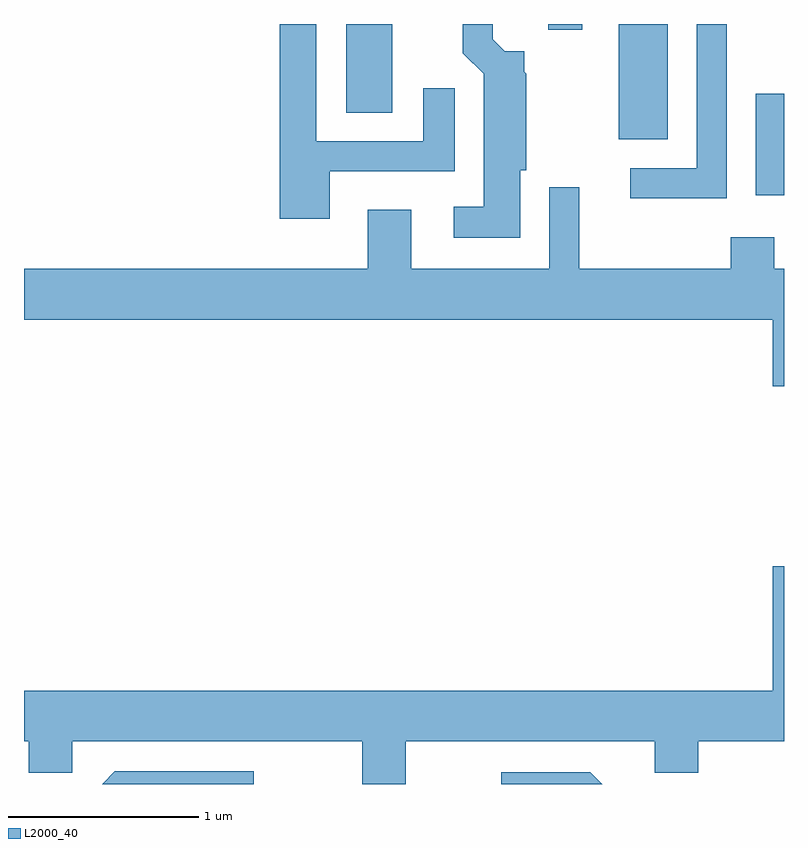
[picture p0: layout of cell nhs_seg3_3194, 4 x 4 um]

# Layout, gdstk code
import gdstk
lib = gdstk.Library(unit=1e-6, precision=1e-09)
def R(c, l, rs):  # rectangles x0, y0, x1, y1
    for r in rs: c.add(gdstk.rectangle(r[:2], r[2:], *l))
def P(c, l, *ps):  # polygons
    for p in ps: c.add(gdstk.Polygon(p, *l))
L2000_40 = (2000, 40)

nhs_seg3_3194 = lib.new_cell('nhs_seg3_3194')
R(nhs_seg3_3194, L2000_40, [(281.461,1250.991,281.611,1251.524), (280.741,1251.286,280.999,1251.892), (279.306,1251.426,279.549,1251.892), (280.371,1251.861,280.549,1251.892)])
P(nhs_seg3_3194, L2000_40, [(281.309,1251.892),(281.151,1251.892),(281.151,1251.134),(280.803,1251.134),(280.803,1250.976),(281.309,1250.976)],
  [(279.219,1251.116),(279.879,1251.116),(279.879,1251.553),(279.711,1251.553),(279.711,1251.274),(279.149,1251.274),(279.149,1251.892),(278.956,1251.892),(278.956,1250.866),(279.219,1250.866)],
  [(280.224,1251.121),(280.254,1251.121),(280.254,1251.631),(280.244,1251.641),(280.244,1251.749),(280.142,1251.749),(280.079,1251.812),(280.079,1251.892),(279.921,1251.892),(279.921,1251.739),(280.031,1251.629),(280.031,1250.929),(279.873,1250.929),(279.873,1250.766),(280.224,1250.766)],
  [(281.611,1250.604),(281.559,1250.604),(281.559,1250.769),(281.331,1250.769),(281.331,1250.604),(280.534,1250.604),(280.534,1251.033),(280.376,1251.033),(280.376,1250.604),(279.649,1250.604),(279.649,1250.914),(279.421,1250.914),(279.421,1250.604),(277.611,1250.604),(277.611,1250.336),(281.551,1250.336),(281.551,1249.986),(281.611,1249.986)],
  [(279.619,1248.116),(280.931,1248.116),(280.931,1247.951),(281.159,1247.951),(281.159,1248.116),(281.611,1248.116),(281.611,1249.039),(281.551,1249.039),(281.551,1248.384),(277.611,1248.384),(277.611,1248.116),(277.636,1248.116),(277.636,1247.951),(277.864,1247.951),(277.864,1248.116),(279.391,1248.116),(279.391,1247.892),(279.619,1247.892)],
  [(278.819,1247.959),(278.089,1247.959),(278.022,1247.892),(278.819,1247.892)],
  [(280.592,1247.954),(280.123,1247.954),(280.123,1247.892),(280.654,1247.892)])

lib.write_gds('nhs_seg3_3194.gds')
